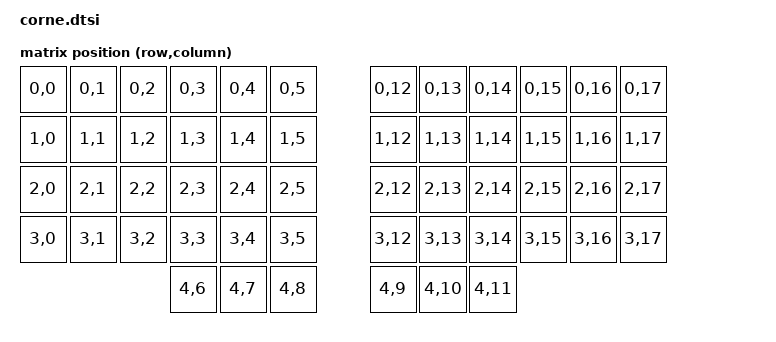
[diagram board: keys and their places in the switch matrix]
#include <dt-bindings/zmk/matrix_transform.h>

/ {
    chosen {
        zmk,kscan = &kscan0;
        zmk,matrix_transform = &default_transform;
    };

    kscan0: kscan0 {
        compatible = "zmk,kscan-gpio-matrix";
        diode-direction = "col2row";
        wakeup-source;
    };

    default_transform: keymap_transform_0 {
        compatible = "zmk,matrix-transform";
        columns = <18>;
        rows = <5>;

        map = <
            RC(0,0) RC(0,1) RC(0,2) RC(0,3) RC(0,4) RC(0,5)             RC(0,12) RC(0,13) RC(0,14) RC(0,15) RC(0,16) RC(0,17)
            RC(1,0) RC(1,1) RC(1,2) RC(1,3) RC(1,4) RC(1,5)             RC(1,12) RC(1,13) RC(1,14) RC(1,15) RC(1,16) RC(1,17)
            RC(2,0) RC(2,1) RC(2,2) RC(2,3) RC(2,4) RC(2,5)             RC(2,12) RC(2,13) RC(2,14) RC(2,15) RC(2,16) RC(2,17)
            RC(3,0) RC(3,1) RC(3,2) RC(3,3) RC(3,4) RC(3,5)             RC(3,12) RC(3,13) RC(3,14) RC(3,15) RC(3,16) RC(3,17)

                                    RC(4,6) RC(4,7) RC(4,8)             RC(4,9) RC(4,10) RC(4,11)
        >;
    };
};
